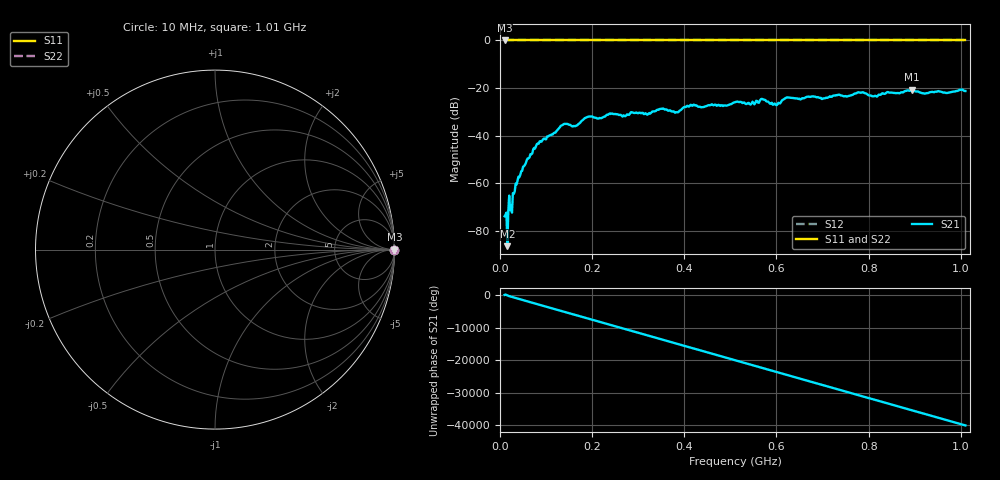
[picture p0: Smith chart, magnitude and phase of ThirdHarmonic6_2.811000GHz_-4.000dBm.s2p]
! 8/17/2025 7:22:51 AM
! C:\ANRITSUVNA\TEMP\TEMP.S2P
! CHANNEL.1
! TR.MEASUREMENT
! RAW.DATA
! RF.CORRECTION.OFF
! AVERAGING.OFF
! IF.BANDWIDTH: 5KHZ
! SWEEPTYPE:  FREQ.SWEEP(Linear)
! Reference Plane Port Info
! PORT:  PORT1  PORT2
! DISTANCE:  0  m  0  m
! TIME:  0  s  0  s
! PHASE.OFFSET:  0  deg.  0  deg.
! LOSS:  0  dB  0  dB
! REF.LOSS:  0  dB  0  dB
! REF.FREQ:  0  Hz  0  Hz
! Power Info
! POWER:  -20  dBm  -20  dBm
! EFF.POWER:  -20  dBm  -20  dBm
! SOURCE.ATTEN:  0  dB  0  dB
! TEST.ATTEN:  0  dB  0  dB
# GHZ S RI R 50.0
! FREQ.GHZ  S11RE  S11IM  S21RE  S21IM  S12RE  S12IM  S22RE  S22IM
!; PortSelection: Port_12
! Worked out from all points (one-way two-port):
!   501 points, 10 MHz to 1.01 GHz, reference 50 ohm
!   highest |S21| = -20.66 dB at 894 MHz (marker M1); lowest = -86.4 dB at 16 MHz (marker M2)
!   lowest |S11| = 0.0 dB at 10 MHz (marker M3)
!   |S11| at or under -10 dB: nowhere
!   |S22| runs from 0.0 to 0.0 dB; largest |S21 - S12| = 1.1
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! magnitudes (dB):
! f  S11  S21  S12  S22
! 10 MHz  0.0  -73.9  0.0  0.0
! 12 MHz  0.0  -73.2  0.0  0.0
! 16 MHz  0.0  -86.4  0.0  0.0
! 26 MHz  0.0  -72.3  0.0  0.0
! 32 MHz  0.0  -63.3  0.0  0.0
! 42 MHz  0.0  -57.4  0.0  0.0
! 78 MHz  0.0  -44.5  0.0  0.0
! 136 MHz  0.0  -35.5  0.0  0.0
! 162 MHz  0.0  -36.0  0.0  0.0
! 178 MHz  0.0  -33.7  0.0  0.0
! 194 MHz  0.0  -31.9  0.0  0.0
! 344 MHz  0.0  -29.1  0.0  0.0
! 384 MHz  0.0  -30.1  0.0  0.0
! 416 MHz  0.0  -27.4  0.0  0.0
! 510 MHz  0.0  -25.9  0.0  0.0
! 570 MHz  0.0  -24.7  0.0  0.0
! 596 MHz  0.0  -26.5  0.0  0.0
! 622 MHz  0.0  -24.0  0.0  0.0
! 678 MHz  0.0  -23.5  0.0  0.0
! 844 MHz  0.0  -21.9  0.0  0.0
! 894 MHz  0.0  -20.7  0.0  0.0
! 1.01 GHz  0.0  -21.2  0.0  0.0
